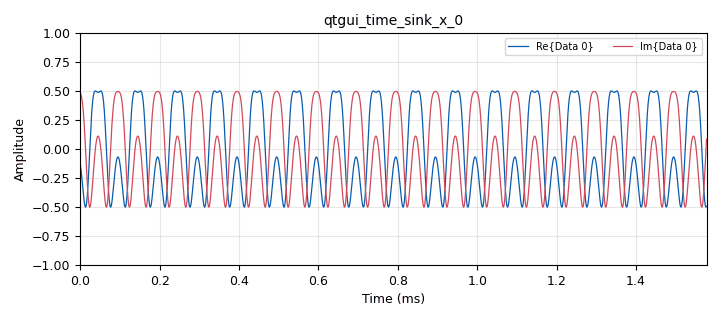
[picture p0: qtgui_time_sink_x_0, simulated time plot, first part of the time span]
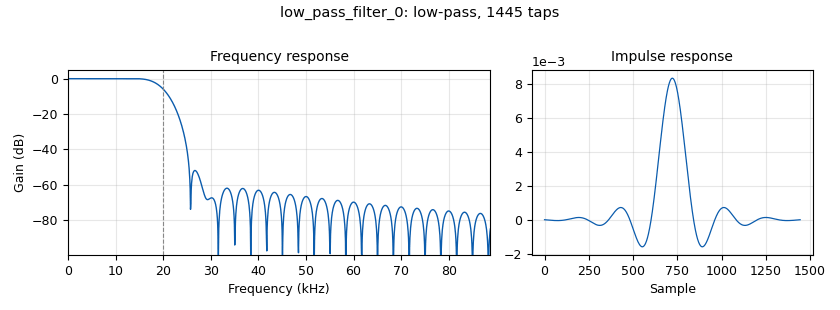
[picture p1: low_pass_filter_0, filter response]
<?xml version='1.0' encoding='utf-8'?>
<?grc format='1' created='3.7.11'?>
<flow_graph>
<block>
<key>options</key>
<param><key>id</key><value>fm_2G</value></param>
<param><key>generate_options</key><value>qt_gui</value></param>
<param><key>title</key><value>fm_2G</value></param>
</block>
<block>
<key>variable</key>
<param><key>id</key><value>samp_rate</value></param>
<param><key>value</key><value>4800e3</value></param>
</block>
<block>
<key>analog_sig_source_x</key>
<param><key>id</key><value>analog_sig_source_x_0</value></param>
<param><key>amp</key><value>1</value></param>
<param><key>freq</key><value>10000</value></param>
<param><key>offset</key><value>0</value></param>
<param><key>type</key><value>float</value></param>
<param><key>samp_rate</key><value>samp_rate</value></param>
<param><key>waveform</key><value>analog.GR_COS_WAVE</value></param>
</block>
<block>
<key>blocks_float_to_complex</key>
<param><key>id</key><value>blocks_float_to_complex_0_0</value></param>
</block>
<block>
<key>blocks_multiply_const_vxx</key>
<param><key>id</key><value>blocks_multiply_const_vxx_0</value></param>
<param><key>const</key><value>6.28</value></param>
<param><key>type</key><value>float</value></param>
</block>
<block>
<key>blocks_multiply_const_vxx</key>
<param><key>id</key><value>blocks_multiply_const_vxx_0_0</value></param>
<param><key>const</key><value>1/(6.28*0.005)</value></param>
<param><key>type</key><value>float</value></param>
</block>
<block>
<key>blocks_multiply_const_vxx</key>
<param><key>id</key><value>blocks_multiply_const_vxx_0_1</value></param>
<param><key>const</key><value>0.5</value></param>
<param><key>type</key><value>complex</value></param>
</block>
<block>
<key>blocks_transcendental</key>
<param><key>id</key><value>blocks_transcendental_0</value></param>
<param><key>name</key><value>cos</value></param>
<param><key>type</key><value>float</value></param>
</block>
<block>
<key>blocks_transcendental</key>
<param><key>id</key><value>blocks_transcendental_0_0</value></param>
<param><key>name</key><value>sin</value></param>
<param><key>type</key><value>float</value></param>
</block>
<block>
<key>epy_block</key>
<param><key>id</key><value>epy_block_0</value></param>
<param><key>_source_code</key><value>"""
Embedded Python Blocks:

Each time this file is saved, GRC will instantiate the first class it finds
to get ports and parameters of your block. The arguments to __init__  will
be the parameters. All of them are required to have default values!
"""

import numpy as np
from gnuradio import gr


class blk(gr.sync_block):  # other base classes are basic_block, decim_block, interp_block
    """FMTX_phasegen - takes Kv as constant mult and accumulates with mod1"""

    def __init__(self, Kv=1.0):  # only default arguments here
        """arguments to this function show up as parameters in GRC"""
        gr.sync_block.__init__(
            self,
            name='FMTx_phasegen',   # will show up in GRC
            in_sig=[np.float32],
            out_sig=[np.float32]
        )
        # if an attribute with the same name as a parameter is found,
        # a callback is registered (properties work, too).
        self.Kv = Kv

    def work(self, input_items, output_items):
        """example: multiply with constant"""
	input_items[0] = input_items[0] *self.Kv
	output_items[0][0] = input_items[0][0]
	for i in range(1, len(input_items[0])):        
		output_items[0][i] = (input_items[0][i] + output_items[0][i-1])%1
        return len(output_items[0])
</value></param>
<param><key>Kv</key><value>0.005</value></param>
</block>
<block>
<key>epy_block</key>
<param><key>id</key><value>epy_block_1</value></param>
<param><key>_source_code</key><value>"""
Embedded Python Blocks:

Each time this file is saved, GRC will instantiate the first class it finds
to get ports and parameters of your block. The arguments to __init__  will
be the parameters. All of them are required to have default values!
"""

import numpy as np
from gnuradio import gr
import math,cmath

class blk(gr.sync_block):  # other base classes are basic_block, decim_block, interp_block
    """FMRx- polar discriminator, takes IQ in complex format and returns output in float"""

    def __init__(self, example_param=1.0):  # only default arguments here
        """arguments to this function show up as parameters in GRC"""
        gr.sync_block.__init__(
            self,
            name='Embedded Python Block',   # will show up in GRC
            in_sig=[np.complex64],
            out_sig=[np.float32]
        )
        # if an attribute with the same name as a parameter is found,
        # a callback is registered (properties work, too).
        self.example_param = example_param

    def work(self, input_items, output_items):
        """example: multiply with constant"""
	for i in range(1, len(input_items[0])):         
		output_items[0][i] = cmath.phase(input_items[0][i] * np.conj(input_items[0][i-1]))
        return len(output_items[0])
</value></param>
<param><key>example_param</key><value>1.0</value></param>
</block>
<block>
<key>low_pass_filter</key>
<param><key>id</key><value>low_pass_filter_0</value></param>
<param><key>cutoff_freq</key><value>20e3</value></param>
<param><key>type</key><value>interp_fir_filter_fff</value></param>
<param><key>gain</key><value>1</value></param>
<param><key>interp</key><value>1</value></param>
<param><key>samp_rate</key><value>samp_rate</value></param>
<param><key>width</key><value>8e3</value></param>
<param><key>win</key><value>firdes.WIN_HAMMING</value></param>
</block>
<block>
<key>pluto_sink</key>
<param><key>id</key><value>pluto_sink_0</value></param>
<param><key>attenuation</key><value>10.0</value></param>
<param><key>buffer_size</key><value>0x80000</value></param>
<param><key>cyclic</key><value>True</value></param>
<param><key>auto_filter</key><value>True</value></param>
<param><key>filter</key><value></value></param>
<param><key>uri</key><value>192.168.2.1</value></param>
<param><key>frequency</key><value>2442000000</value></param>
<param><key>bandwidth</key><value>20000000</value></param>
<param><key>samplerate</key><value>4800e3</value></param>
</block>
<block>
<key>pluto_source</key>
<param><key>id</key><value>pluto_source_0</value></param>
<param><key>bbdc</key><value>True</value></param>
<param><key>buffer_size</key><value>0x80000</value></param>
<param><key>uri</key><value>192.168.2.1</value></param>
<param><key>auto_filter</key><value>True</value></param>
<param><key>filter</key><value></value></param>
<param><key>gain</key><value>"slow_attack"</value></param>
<param><key>frequency</key><value>2442000000</value></param>
<param><key>manual_gain</key><value>64.0</value></param>
<param><key>quadrature</key><value>True</value></param>
<param><key>rfdc</key><value>True</value></param>
<param><key>bandwidth</key><value>20000000</value></param>
<param><key>samplerate</key><value>4800e3</value></param>
</block>
<block>
<key>qtgui_time_sink_x</key>
<param><key>id</key><value>qtgui_time_sink_x_0</value></param>
<param><key>color1</key><value>"blue"</value></param>
<param><key>label1</key><value></value></param>
<param><key>color2</key><value>"red"</value></param>
<param><key>label2</key><value></value></param>
<param><key>size</key><value>1024000</value></param>
<param><key>srate</key><value>samp_rate</value></param>
<param><key>type</key><value>complex</value></param>
</block>
<block>
<key>qtgui_time_sink_x</key>
<param><key>id</key><value>qtgui_time_sink_x_0_0</value></param>
<param><key>color1</key><value>"blue"</value></param>
<param><key>label1</key><value></value></param>
<param><key>color2</key><value>"red"</value></param>
<param><key>label2</key><value></value></param>
<param><key>size</key><value>1024000</value></param>
<param><key>srate</key><value>samp_rate</value></param>
<param><key>type</key><value>complex</value></param>
</block>
<block>
<key>qtgui_time_sink_x</key>
<param><key>id</key><value>qtgui_time_sink_x_1</value></param>
<param><key>ctrlpanel</key><value>True</value></param>
<param><key>color1</key><value>"blue"</value></param>
<param><key>label1</key><value></value></param>
<param><key>size</key><value>1024000</value></param>
<param><key>srate</key><value>samp_rate</value></param>
<param><key>type</key><value>float</value></param>
</block>
<connection><source_block_id>analog_sig_source_x_0</source_block_id><sink_block_id>epy_block_0</sink_block_id><source_key>0</source_key><sink_key>0</sink_key></connection>
<connection><source_block_id>blocks_float_to_complex_0_0</source_block_id><sink_block_id>blocks_multiply_const_vxx_0_1</sink_block_id><source_key>0</source_key><sink_key>0</sink_key></connection>
<connection><source_block_id>blocks_multiply_const_vxx_0</source_block_id><sink_block_id>blocks_transcendental_0</sink_block_id><source_key>0</source_key><sink_key>0</sink_key></connection>
<connection><source_block_id>blocks_multiply_const_vxx_0</source_block_id><sink_block_id>blocks_transcendental_0_0</sink_block_id><source_key>0</source_key><sink_key>0</sink_key></connection>
<connection><source_block_id>blocks_multiply_const_vxx_0_0</source_block_id><sink_block_id>low_pass_filter_0</sink_block_id><source_key>0</source_key><sink_key>0</sink_key></connection>
<connection><source_block_id>blocks_multiply_const_vxx_0_1</source_block_id><sink_block_id>pluto_sink_0</sink_block_id><source_key>0</source_key><sink_key>0</sink_key></connection>
<connection><source_block_id>blocks_multiply_const_vxx_0_1</source_block_id><sink_block_id>qtgui_time_sink_x_0</sink_block_id><source_key>0</source_key><sink_key>0</sink_key></connection>
<connection><source_block_id>blocks_transcendental_0</source_block_id><sink_block_id>blocks_float_to_complex_0_0</sink_block_id><source_key>0</source_key><sink_key>0</sink_key></connection>
<connection><source_block_id>blocks_transcendental_0_0</source_block_id><sink_block_id>blocks_float_to_complex_0_0</sink_block_id><source_key>0</source_key><sink_key>1</sink_key></connection>
<connection><source_block_id>epy_block_0</source_block_id><sink_block_id>blocks_multiply_const_vxx_0</sink_block_id><source_key>0</source_key><sink_key>0</sink_key></connection>
<connection><source_block_id>epy_block_1</source_block_id><sink_block_id>blocks_multiply_const_vxx_0_0</sink_block_id><source_key>0</source_key><sink_key>0</sink_key></connection>
<connection><source_block_id>low_pass_filter_0</source_block_id><sink_block_id>qtgui_time_sink_x_1</sink_block_id><source_key>0</source_key><sink_key>0</sink_key></connection>
<connection><source_block_id>pluto_source_0</source_block_id><sink_block_id>epy_block_1</sink_block_id><source_key>0</source_key><sink_key>0</sink_key></connection>
<connection><source_block_id>pluto_source_0</source_block_id><sink_block_id>qtgui_time_sink_x_0_0</sink_block_id><source_key>0</source_key><sink_key>0</sink_key></connection>
</flow_graph>
